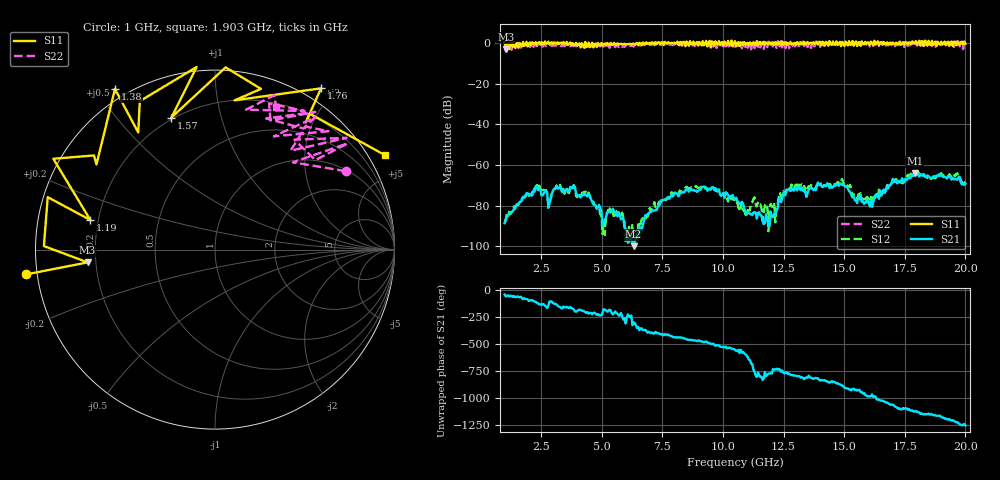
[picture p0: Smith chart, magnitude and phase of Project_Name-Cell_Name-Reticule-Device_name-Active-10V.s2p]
#  HZ  S  RI  R  50.00
! Rohde & Schwarz Vector Network Analyzer
! Rohde-Schwarz,ZNA67-4Port,1332450064101810,2.73
! Created: UTC 3/17/2026, 12:04:17 PM
! freq[Hz]  re:S11  im:S11  re:S21  im:S21  re:S12  im:S12  re:S22  im:S22
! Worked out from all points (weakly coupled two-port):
!   401 points, 1 GHz to 20 GHz, reference 50 ohm
!   highest |S21| = -64.14 dB at 17.91 GHz (marker M1); lowest = -100.0 dB at 6.32 GHz (marker M2)
!   lowest |S11| = -2.9 dB at 1.048 GHz (marker M3), VSWR 5.97, Z = 8.39 - j2.43 ohm
!   |S11| at or under -10 dB: nowhere
!   |S22| runs from -3.7 to 1.2 dB; largest |S21 - S12| = 0.00034
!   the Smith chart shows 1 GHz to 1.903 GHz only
!   S11 on the Smith chart (normalised r, x): 1 GHz: -0.03, -0.07; 1.19 GHz: 0.17, +0.11; 1.38 GHz: -0.03, +0.55; 1.57 GHz: 0.19, +0.71; 1.76 GHz: -0.16, +1.84; 1.903 GHz: -0.64, +3.78
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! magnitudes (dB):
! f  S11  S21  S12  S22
! 1 GHz  0.5  -88.7  -88.5  -1.4
! 1.048 GHz  -2.9  -87.5  -86.5  -3.7
! 1.19 GHz  -2.9  -84.0  -83.1  -2.4
! 1.38 GHz  0.5  -81.8  -80.5  -0.8
! 1.57 GHz  -2.2  -79.5  -79.7  -2.1
! 1.76 GHz  0.6  -75.6  -75.8  -0.7
! 1.903 GHz  0.7  -73.9  -74.1  -1.3
! 2.853 GHz  -0.6  -78.8  -78.5  -1.1
! 3.803 GHz  0.1  -70.7  -71.4  -1.1
! 4.183 GHz  0.0  -75.1  -74.0  -1.8
! 6.32 GHz  -0.2  -100.0  -97.7  -1.6
! 7.365 GHz  0.5  -80.1  -78.0  -0.4
! 9.123 GHz  -0.9  -71.1  -70.7  -1.1
! 10.5 GHz  1.0  -77.0  -77.6  -1.7
! 12.16 GHz  0.5  -84.4  -88.3  0.0
! 12.73 GHz  0.0  -71.7  -71.3  -2.4
! 13.68 GHz  -0.3  -71.5  -70.5  0.7
! 14.92 GHz  0.7  -69.8  -67.0  -0.9
! 16.11 GHz  0.8  -77.7  -75.9  0.3
! 16.86 GHz  -0.1  -69.8  -71.1  -0.4
! 17.91 GHz  0.0  -64.1  -63.2  0.4
! 20 GHz  -0.3  -69.3  -68.2  -0.3
